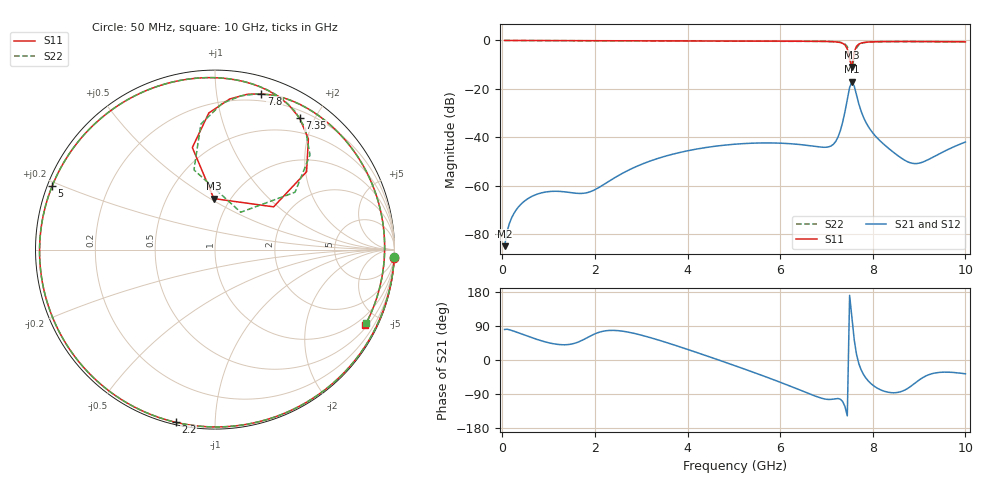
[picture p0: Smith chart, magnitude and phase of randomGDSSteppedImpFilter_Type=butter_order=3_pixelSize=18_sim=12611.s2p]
! freq	dB(S11)	phase(S11)	dB(S12)	phase(S12)
!  dB(S21)	phase(S21)	dB(S22)	phase(S22)
!S-par simulation data
#  GHz  S  DB  R 50
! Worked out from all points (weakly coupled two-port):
!   200 points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, 50 MHz to 10 GHz, reference 50 ohm
!   highest |S21| = -17.06 dB at 7.55 GHz (marker M1); lowest = -85.0 dB at 50 MHz (marker M2)
!   lowest |S11| = -10.9 dB at 7.55 GHz (marker M3), VSWR 1.79, Z = 42 + j26 ohm
!   |S11| at or under -10 dB: 7.534894 GHz to 7.557407 GHz (22.51 MHz wide, 0.298 % of centre)
!   |S22| runs from -11.9 to 0.0 dB; largest |S21 - S12| = 0
!   S11 on the Smith chart (normalised r, x): 50 MHz: 0, -45; 2.2 GHz: 0.01, -0.80; 5 GHz: 0.01, +0.19; 7.35 GHz: 0.29, +1.80; 7.8 GHz: 0.14, +1.33; 10 GHz: 0.60, -4.14
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0.05  -0.00 -2.5  -84.96 80.5  -84.96 80.5  -0.00 -2.5
0.3  -0.02 -15.3  -69.97 73.9  -69.97 73.9  -0.02 -15.3
0.65  -0.04 -32.9  -64.29 58.4  -64.29 58.4  -0.04 -32.9
1.75  -0.10 -84.1  -63.12 53.5  -63.12 53.5  -0.10 -84.0
2.2  -0.12 -102.8  -59.39 76.4  -59.39 76.4  -0.12 -102.7
3.4  -0.16 -147.5  -48.48 51.6  -48.48 51.6  -0.16 -147.3
4.2  -0.19 -174.7  -44.84 19.8  -44.84 19.8  -0.19 -174.5
5  -0.23 158.6  -42.88 -14.0  -42.88 -14.0  -0.23 158.9
5.05  -0.23 157.0  -42.80 -16.2  -42.80 -16.2  -0.23 157.3
5.85  -0.28 129.3  -42.34 -51.7  -42.34 -51.7  -0.28 129.7
6.7  -0.35 96.8  -43.62 -92.5  -43.62 -92.5  -0.34 97.4
7.15  -0.53 74.6  -42.87 -103.1  -42.87 -103.1  -0.50 75.7
7.35  -1.20 57.3  -33.75 -109.7  -33.75 -109.7  -1.02 59.8
7.45  -3.48 40.4  -24.32 -147.3  -24.32 -147.3  -2.54 44.9
7.5  -7.87 36.1  -19.43 170.7  -19.43 170.7  -5.22 35.6
7.55  -10.92 91.3  -17.06 110.9  -17.06 110.9  -11.94 55.4
7.6  -4.69 102.5  -18.88 53.0  -18.88 53.0  -6.75 104.8
7.7  -1.48 84.4  -26.31 -10.1  -26.31 -10.1  -1.77 87.2
7.8  -0.86 73.5  -31.74 -38.2  -31.74 -38.2  -0.94 75.1
8.35  -0.47 42.3  -44.70 -85.5  -44.70 -85.5  -0.47 43.1
8.95  -0.46 16.0  -50.83 -57.4  -50.83 -57.4  -0.46 16.8
10  -0.57 -26.6  -41.94 -36.4  -41.94 -36.4  -0.57 -25.8
